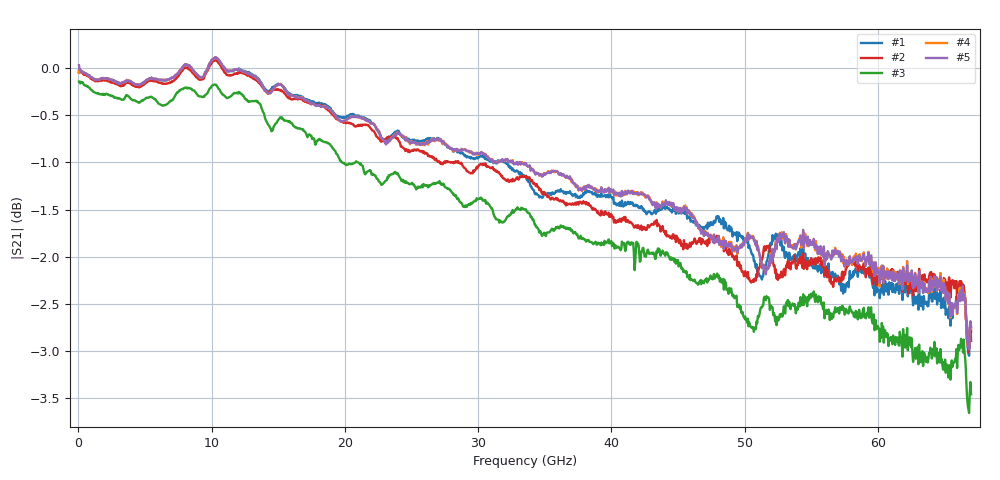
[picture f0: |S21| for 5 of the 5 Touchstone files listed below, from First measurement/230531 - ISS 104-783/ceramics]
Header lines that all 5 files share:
#  HZ  S  MA  R  50.00
! Rohde & Schwarz ZVA67 4Ports - Version 4.11 - 1305.7002k04 SN: 101051
! Measurements: S11 S21 S12 S22
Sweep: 50 MHz to 67 GHz
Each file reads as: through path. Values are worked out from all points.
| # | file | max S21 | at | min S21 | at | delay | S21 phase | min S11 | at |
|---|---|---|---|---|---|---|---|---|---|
| 1 | Line_A1.s2p | 0.12 dB | 10.3 GHz | -3.1 dB | 66.85 GHz | 375 ps | 145 deg at 33.55 GHz | -49.5 dB | 100 MHz |
| 2 | Line_A2.s2p | 0.08 dB | 10.3 GHz | -3.0 dB | 66.8 GHz | 379 ps | 104 deg at 33.55 GHz | -47.2 dB | 100 MHz |
| 3 | Line_A4.s2p | -0.14 dB | 100 MHz | -3.7 dB | 66.85 GHz | 398 ps | -133 deg at 33.55 GHz | -51.6 dB | 1.65 GHz |
| 4 | Thru_A1.s2p | 0.11 dB | 10.3 GHz | -3.0 dB | 66.8 GHz | 374 ps | 166 deg at 33.55 GHz | -49.2 dB | 100 MHz |
| 5 | Thru_A1_5.s2p | 0.12 dB | 10.3 GHz | -3.0 dB | 66.85 GHz | 373 ps | 166 deg at 33.55 GHz | -50.1 dB | 100 MHz |
